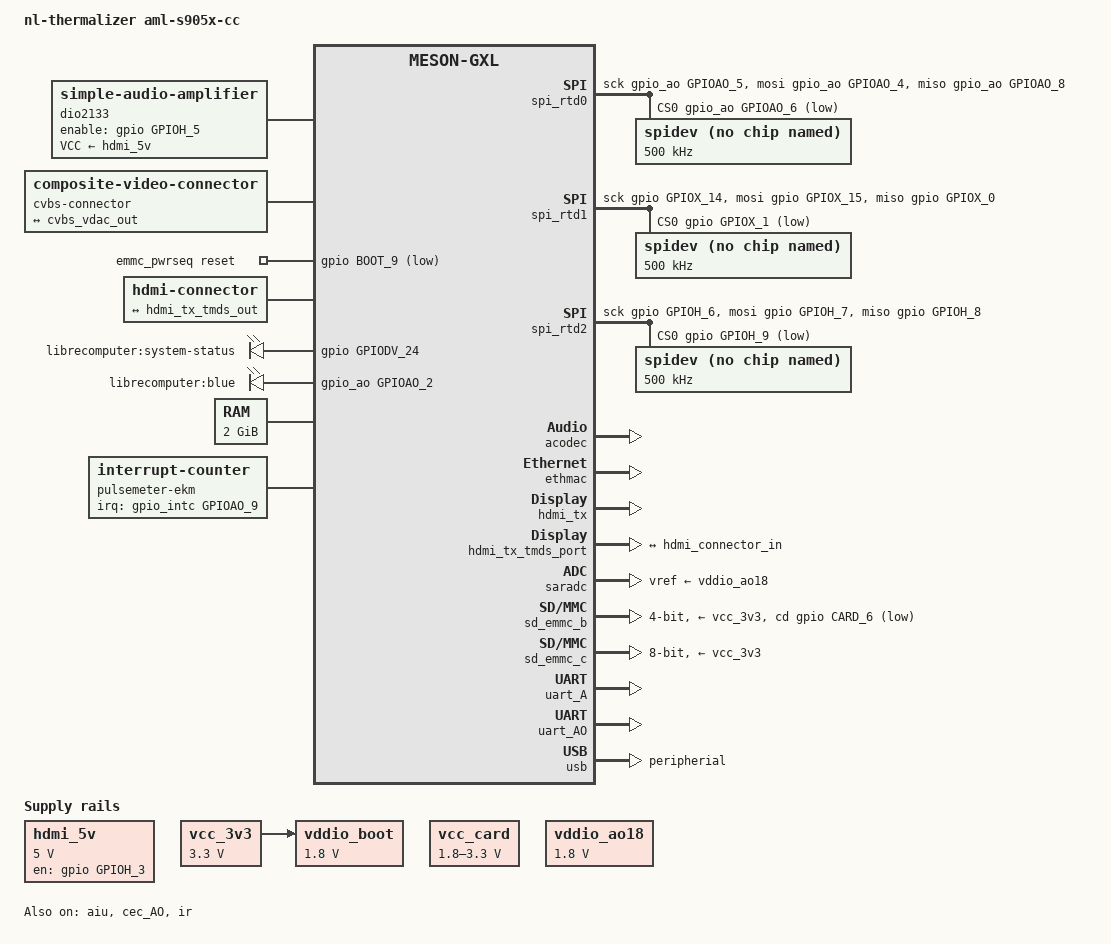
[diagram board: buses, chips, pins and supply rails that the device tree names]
// SPDX-License-Identifier: (GPL-2.0+ OR MIT)
/*
 * Copyright (c) 2017 BayLibre, SAS.
 * Author: Neil Armstrong <narmstrong@baylibre.com>
 * Author: Jerome Brunet <jbrunet@baylibre.com>
 */

/dts-v1/;

#include <dt-bindings/input/input.h>
#include <dt-bindings/sound/meson-aiu.h>

#include "meson-gxl-s905x.dtsi"

/ {
	compatible = "libretech,aml-s905x-cc", "amlogic,s905x",
		     "amlogic,meson-gxl";
	model = "nl-thermalizer aml-s905x-cc";

	aliases {
		spi0 = &spi_rtd0;
		spi1 = &spi_rtd1;
		spi2 = &spi_rtd2;
		serial0 = &uart_A;
		serial1 = &uart_AO;
		ethernet0 = &ethmac;
	};

/* put the pulse counter input on 
 * 7J1 pins 13 and 14, GPIOAO_9 and GND respectively
 *
 * Use pins 23 and 24 for i2c mode for character LCD 
 * Use pins 19 and 21 for UART C for GPS module
 */

	/* RTD Sensor, channel 0
	 * Header 7J1
	 * pin3		clk	GPIOAO_5
	 * pin5		mosi	GPIOAO_4
	 * pin11	miso	GPIOAO_8
	 * pin12	cs	GPIOAO_6
	 * pin1		+3.3v
	 * pin6		GND
	 */
	spi_rtd0: spi_rtd0 {
		status = "okay";
		compatible = "spi-gpio";
		num-chipselects = <1>;
		#address-cells = <1>;
		#size-cells = <0>;

		sck-gpios = <&gpio_ao GPIOAO_5 GPIO_ACTIVE_HIGH>;
		mosi-gpios = <&gpio_ao GPIOAO_4 GPIO_ACTIVE_HIGH>;
		miso-gpios = <&gpio_ao GPIOAO_8 GPIO_ACTIVE_HIGH>;
		cs-gpios = <&gpio_ao GPIOAO_6 GPIO_ACTIVE_LOW>;

		spidev@0 {
			compatible = "rohm,dh2228fv";
			reg = <0>;
			spi-max-frequency = <500000>;
		};
	};

	/* RTD Sensor, channel 1
	 * Header 7J1
	 * pin16	clk,	GPIOX_14
	 * pin18	mosi	GPIOX_15
	 * pin22	miso	GPIOX_0
	 * pin26	cs	GPIOX_1
	 * pin17	+3.3v
	 * pin20	GND
	 */
	spi_rtd1: spi_rtd1 {
		status = "okay";
		compatible = "spi-gpio";
		num-chipselects = <1>;
		#address-cells = <1>;
		#size-cells = <0>;

		sck-gpios = <&gpio GPIOX_14 GPIO_ACTIVE_HIGH>;
		mosi-gpios = <&gpio GPIOX_15 GPIO_ACTIVE_HIGH>;
		miso-gpios = <&gpio GPIOX_0 GPIO_ACTIVE_HIGH>;
		cs-gpios = <&gpio GPIOX_1 GPIO_ACTIVE_LOW>;

		spidev@0 {
			compatible = "rohm,dh2228fv";
			reg = <0>;
			spi-max-frequency = <500000>;
		};
	};

	/* RTD Sensor, channel 2
	 * Header 2J3
	 * pin3		cs	GPIOH_9
	 * pin4		miso	GPIOH_8
	 * pin5		mosi	GPIOH_7
	 * pin6		clk	GPIOH_6
	 * pin7		GND
	 * pin8		+3.3v
	 */
	spi_rtd2: spi_rtd2 {
		status = "okay";
		compatible = "spi-gpio";
		num-chipselects = <1>;
		#address-cells = <1>;
		#size-cells = <0>;

		cs-gpios = <&gpio GPIOH_9 GPIO_ACTIVE_LOW>;
		miso-gpios = <&gpio GPIOH_8 GPIO_ACTIVE_HIGH>;
		mosi-gpios = <&gpio GPIOH_7 GPIO_ACTIVE_HIGH>;
		sck-gpios = <&gpio GPIOH_6 GPIO_ACTIVE_HIGH>;

		spidev@0 {
			compatible = "rohm,dh2228fv";
			reg = <0>;
			spi-max-frequency = <500000>;
		};
	};


	dio2133: analog-amplifier {
		compatible = "simple-audio-amplifier";
		sound-name-prefix = "AU2";
		VCC-supply = <&hdmi_5v>;
		enable-gpios = <&gpio GPIOH_5 GPIO_ACTIVE_HIGH>;
	};

	chosen {
		stdout-path = "serial0:115200n8";
	};

	cvbs-connector {
		compatible = "composite-video-connector";

		port {
			cvbs_connector_in: endpoint {
				remote-endpoint = <&cvbs_vdac_out>;
			};
		};
	};

	emmc_pwrseq: emmc-pwrseq {
		compatible = "mmc-pwrseq-emmc";
		reset-gpios = <&gpio BOOT_9 GPIO_ACTIVE_LOW>;
	};

	hdmi-connector {
		compatible = "hdmi-connector";
		type = "a";

		port {
			hdmi_connector_in: endpoint {
				remote-endpoint = <&hdmi_tx_tmds_out>;
			};
		};
	};

	leds {
		compatible = "gpio-leds";

		led-system {
			label = "librecomputer:system-status";
			gpios = <&gpio GPIODV_24 GPIO_ACTIVE_HIGH>;
			default-state = "on";
			panic-indicator;
		};

		led-blue {
			label = "librecomputer:blue";
			gpios = <&gpio_ao GPIOAO_2 GPIO_ACTIVE_HIGH>;
			linux,default-trigger = "heartbeat";
		};
	};

	memory@0 {
		device_type = "memory";
		reg = <0x0 0x0 0x0 0x80000000>;
	};

	hdmi_5v: regulator-hdmi-5v {
		compatible = "regulator-fixed";

		regulator-name = "HDMI_5V";
		regulator-min-microvolt = <5000000>;
		regulator-max-microvolt = <5000000>;

		gpio = <&gpio GPIOH_3 GPIO_ACTIVE_HIGH>;
		enable-active-high;
		regulator-always-on;
	};

	vcc_3v3: regulator-vcc_3v3 {
		compatible = "regulator-fixed";
		regulator-name = "VCC_3V3";
		regulator-min-microvolt = <3300000>;
		regulator-max-microvolt = <3300000>;
	};

	vcc_card: regulator-vcc-card {
		compatible = "regulator-gpio";

		regulator-name = "VCC_CARD";
		regulator-min-microvolt = <1800000>;
		regulator-max-microvolt = <3300000>;

		gpios = <&gpio_ao GPIOAO_3 GPIO_ACTIVE_HIGH>;
		gpios-states = <0>;

		states = <3300000 0>,
			 <1800000 1>;

		regulator-settling-time-up-us = <200>;
		regulator-settling-time-down-us = <50000>;
	};

	vddio_ao18: regulator-vddio_ao18 {
		compatible = "regulator-fixed";
		regulator-name = "VDDIO_AO18";
		regulator-min-microvolt = <1800000>;
		regulator-max-microvolt = <1800000>;
	};

	/* This is provided by LDOs on the eMMC daugther card */
	vddio_boot: regulator-vddio_boot {
		compatible = "regulator-fixed";
		regulator-name = "VDDIO_BOOT";
		regulator-min-microvolt = <1800000>;
		regulator-max-microvolt = <1800000>;
		vin-supply = <&vcc_3v3>;
	};

	sound {
		compatible = "amlogic,gx-sound-card";
		model = "LIBRETECH-CC";
		audio-aux-devs = <&dio2133>;
		audio-widgets = "Line", "Lineout";
		audio-routing = "AU2 INL", "ACODEC LOLN",
				"AU2 INR", "ACODEC LORN",
				"Lineout", "AU2 OUTL",
				"Lineout", "AU2 OUTR";
		assigned-clocks = <&clkc CLKID_MPLL0>,
				  <&clkc CLKID_MPLL1>,
				  <&clkc CLKID_MPLL2>;
		assigned-clock-parents = <0>, <0>, <0>;
		assigned-clock-rates = <294912000>,
				       <270950400>,
				       <393216000>;
		status = "okay";

		dai-link-0 {
			sound-dai = <&aiu AIU_CPU CPU_I2S_FIFO>;
		};

		dai-link-1 {
			sound-dai = <&aiu AIU_CPU CPU_I2S_ENCODER>;
			dai-format = "i2s";
			mclk-fs = <256>;

			codec-0 {
				sound-dai = <&aiu AIU_HDMI CTRL_I2S>;
			};

			codec-1 {
				sound-dai = <&aiu AIU_ACODEC CTRL_I2S>;
			};
		};

		dai-link-2 {
			sound-dai = <&aiu AIU_HDMI CTRL_OUT>;

			codec-0 {
				sound-dai = <&hdmi_tx>;
			};
		};

		dai-link-3 {
			sound-dai = <&aiu AIU_ACODEC CTRL_OUT>;

			codec-0 {
				sound-dai = <&acodec>;
			};
		};
	};

	/* Configure pps-gpio input on GPIOAO_9 */
/*
	pps-gpio {
		compatible = "pps-gpio";
		gpios = <&gpio_ao GPIOAO_9 GPIO_ACTIVE_HIGH>;
		interrupt-parent = <&gpio_intc>;
		interrupts = <9 1>;
		assert-rising-edge;
		status = "okay";
	};
*/
	pulsemeter-ekm {
		status = "okay";
		compatible = "interrupt-counter";
		interrupts-extended = <&gpio_intc GPIOAO_9 IRQ_TYPE_EDGE_FALLING>;
		pinctrl-0 = <&pulsemeter_pins>;
		pinctrl-names = "default";

		/*
		 * There's a bug in the meson gpio irqchip driver in that the
		 * output going to the GIC must always be rising edge. The type
		 * is overwritten so it's always IRQ_TYPE_EDGE_RISING. The code
		 * that sets up the port polarity register does work, but by
		 * the time it's called the 'type' has already been overwritten
		 * so the port filter is never configured to invert the signal
		 * and get a falling edge irq.
		 *
		 * Given the way the pulse meter works, I really really do want
		 * a a falling edge irq. I worked around this with a hard coded
		 * polarity patch in the driver:
		 *
		 *   drivers/irqchip/irq-meson-gpio.c
		 */
	};
};

&pinctrl_aobus {
	pulsemeter_pins: pulsemeter_pins {
		mux {
				groups = "GPIOAO_9";
				function = "gpio_aobus";
				bias-pull-up;
		};
	};
};

&acodec {
	AVDD-supply = <&vddio_ao18>;
	status = "okay";
};

&aiu {
	status = "okay";
};

&cec_AO {
	status = "okay";
	pinctrl-0 = <&ao_cec_pins>;
	pinctrl-names = "default";
	hdmi-phandle = <&hdmi_tx>;
};

&cvbs_vdac_port {
	cvbs_vdac_out: endpoint {
		remote-endpoint = <&cvbs_connector_in>;
	};
};

&ethmac {
	status = "okay";
};

&internal_phy {
	pinctrl-0 = <&eth_link_led_pins>, <&eth_act_led_pins>;
	pinctrl-names = "default";
};

&ir {
	status = "okay";
	pinctrl-0 = <&remote_input_ao_pins>;
	pinctrl-names = "default";
};

&hdmi_tx {
	status = "okay";
	pinctrl-0 = <&hdmi_hpd_pins>, <&hdmi_i2c_pins>;
	pinctrl-names = "default";
	hdmi-supply = <&hdmi_5v>;
};

&hdmi_tx_tmds_port {
	hdmi_tx_tmds_out: endpoint {
		remote-endpoint = <&hdmi_connector_in>;
	};
};

&gpio_ao {
	gpio-line-names = "UART TX",
			  "UART RX",
			  "Blue LED",
			  "SDCard Voltage Switch",
			  "rtd0-mosi-7J1.5",
			  "rtd0-sclk-7J1.3",
			  "rtd0-cs-7J1.12",
			  "IR In",
			  "rtd0-miso-7J1.11",
			  "pulse-plus-7J1.13",
			  /* GPIO_TEST_N */
			  "7J1 Header Pin15";
};

&gpio {
	gpio-line-names = /* Bank GPIOZ */
			  "", "", "", "", "", "", "",
			  "", "", "", "", "", "", "",
			  "Eth Link LED", "Eth Activity LED",
			  /* Bank GPIOH */
			  "HDMI HPD", "HDMI SDA", "HDMI SCL",
			  "HDMI_5V_EN", "9J1 Header Pin2",
			  "Analog Audio Mute",
			  "rtd2-sclk-2J3.6",
			  "rtd2-mosi-2J3.5",
			  "rtd2-miso-2J3.4",
			  "rtd2-cs-2J3.3",
			  /* Bank BOOT */
			  "eMMC D0", "eMMC D1", "eMMC D2", "eMMC D3",
			  "eMMC D4", "eMMC D5", "eMMC D6", "eMMC D7",
			  "eMMC Clk", "eMMC Reset", "eMMC CMD",
			  "ALT BOOT MODE", "", "", "", "eMMC Data Strobe",
			  /* Bank CARD */
			  "SDCard D1", "SDCard D0", "SDCard CLK", "SDCard CMD",
			  "SDCard D3", "SDCard D2", "SDCard Det",
			  /* Bank GPIODV */
			  "", "", "", "", "", "", "", "", "", "", "", "",
			  "", "", "", "", "", "", "", "", "", "", "", "",
			  "Green LED", "VCCK Enable",
			  "7J1 Header Pin27", "7J1 Header Pin28",
			  "VCCK Regulator", "VDDEE Regulator",
			  /* Bank GPIOX */
			  "rtd1-miso-7J1.22", "rtd1-cs-7J1.26",
			  "relay-k2-7J1.36", "relay-k4-7J1.38",
			  "7J1 Header Pin40", "relay-k3-7J1.37",
			  "7J1 Header Pin33", "relay-k1-7J1.35",
			  "7J1 Header Pin19", "7J1 Header Pin21",
			  "7J1 Header Pin24", "7J1 Header Pin23",
			  "7J1 Header Pin8", "7J1 Header Pin10",
			  "rtd1-sclk-7J1.16", "rtd1-mosi-7J1.18",
			  "7J1 Header Pin32", "7J1 Header Pin29",
			  "7J1 Header Pin31",
			  /* Bank GPIOCLK */
			  "7J1 Header Pin7", "";
};

&saradc {
	status = "okay";
	vref-supply = <&vddio_ao18>;
};

/* SD card */
&sd_emmc_b {
	status = "okay";
	pinctrl-0 = <&sdcard_pins>;
	pinctrl-1 = <&sdcard_clk_gate_pins>;
	pinctrl-names = "default", "clk-gate";

	bus-width = <4>;
	cap-sd-highspeed;
	max-frequency = <50000000>;
	disable-wp;

	cd-gpios = <&gpio CARD_6 GPIO_ACTIVE_LOW>;

	vmmc-supply = <&vcc_3v3>;
	vqmmc-supply = <&vcc_card>;
};

/* eMMC */
&sd_emmc_c {
	status = "okay";
	pinctrl-0 = <&emmc_pins>, <&emmc_ds_pins>;
	pinctrl-1 = <&emmc_clk_gate_pins>;
	pinctrl-names = "default", "clk-gate";

	bus-width = <8>;
	cap-mmc-highspeed;
	mmc-ddr-1_8v;
	mmc-hs200-1_8v;
	max-frequency = <200000000>;
	disable-wp;

	mmc-pwrseq = <&emmc_pwrseq>;
	vmmc-supply = <&vcc_3v3>;
	vqmmc-supply = <&vddio_boot>;
};

&uart_A {
	status = "okay";
	pinctrl-0 = <&uart_a_pins>;
	pinctrl-names = "default";
};

&uart_AO {
	status = "okay";
	pinctrl-0 = <&uart_ao_a_pins>;
	pinctrl-names = "default";
};



&usb {
	status = "okay";
	dr_mode = "peripherial";
};

&usb2_phy0 {
	/*
	 * even though the schematics don't show it:
	 * HDMI_5V is also used as supply for the USB VBUS.
	 */
	phy-supply = <&hdmi_5v>;
};

/*
&spicc {
	status = "okay";
	pinctrl-0 = <&spi_pins>;
	pinctrl-names = "default";
	cs-gpios = <&gpio GPIOX_10 GPIO_ACTIVE_LOW>, <&gpio GPIOX_1 GPIO_ACTIVE_LOW>;

	spidev@0 {
		compatible = "rohm,dh2228fv";
		reg = <0>;
		spi-max-frequency = <30000000>;
	};

	spidev@1 {
		compatible = "rohm,dh2228fv";
		reg = <1>;
		spi-max-frequency = <30000000>;
	};
};
*/
